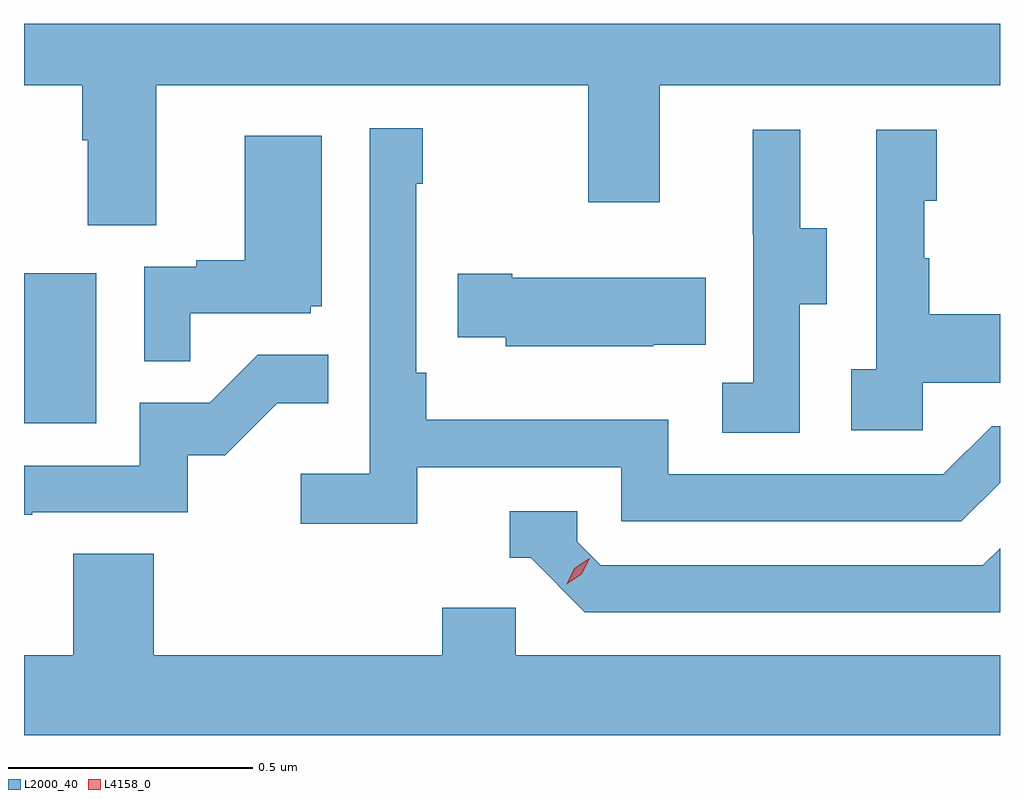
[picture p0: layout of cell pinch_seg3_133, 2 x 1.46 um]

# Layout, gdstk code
import gdstk
lib = gdstk.Library(unit=1e-6, precision=1e-09)
def R(c, l, rs):  # rectangles x0, y0, x1, y1
    for r in rs: c.add(gdstk.rectangle(r[:2], r[2:], *l))
def P(c, l, *ps):  # polygons
    for p in ps: c.add(gdstk.Polygon(p, *l))
L2000_40 = (2000, 40)
L4158_0 = (4158, 0)

pinch_seg3_133 = lib.new_cell('pinch_seg3_133')
R(pinch_seg3_133, L2000_40, [(1129.26,717.54,1129.408,717.847)])
P(pinch_seg3_133, L2000_40, [(1129.531,718.232),(1130.416,718.232),(1130.416,717.993),(1130.563,717.993),(1130.563,718.232),(1131.26,718.232),(1131.26,718.359),(1129.26,718.359),(1129.26,718.232),(1129.379,718.232),(1129.379,718.12),(1129.391,718.12),(1129.391,717.946),(1129.531,717.946)],
  [(1130.066,717.45),(1130.484,717.45),(1130.484,717.339),(1131.181,717.339),(1131.26,717.418),(1131.26,717.534),(1131.243,717.534),(1131.144,717.435),(1130.58,717.435),(1130.58,717.547),(1130.084,717.547),(1130.084,717.643),(1130.064,717.643),(1130.064,718.031),(1130.077,718.031),(1130.077,718.144),(1129.968,718.144),(1129.968,717.436),(1129.827,717.436),(1129.827,717.334),(1130.066,717.334)],
  [(1131.102,717.623),(1131.26,717.623),(1131.26,717.763),(1131.115,717.763),(1131.115,717.878),(1131.105,717.878),(1131.105,717.996),(1131.13,717.996),(1131.13,718.141),(1131.006,718.141),(1131.006,717.65),(1130.955,717.65),(1130.955,717.525),(1131.102,717.525)],
  [(1130.85,717.784),(1130.905,717.784),(1130.905,717.939),(1130.851,717.939),(1130.851,718.141),(1130.753,718.141),(1130.753,717.927),(1130.754,717.927),(1130.754,717.623),(1130.691,717.623),(1130.691,717.52),(1130.85,717.52)],
  [(1129.601,717.765),(1129.848,717.765),(1129.848,717.78),(1129.87,717.78),(1129.87,718.129),(1129.712,718.129),(1129.712,717.874),(1129.613,717.874),(1129.613,717.861),(1129.506,717.861),(1129.506,717.667),(1129.601,717.667)],
  [(1130.549,717.701),(1130.657,717.701),(1130.657,717.838),(1130.26,717.838),(1130.26,717.846),(1130.149,717.846),(1130.149,717.716),(1130.247,717.716),(1130.247,717.698),(1130.549,717.698)],
  [(1129.277,717.357),(1129.596,717.357),(1129.596,717.474),(1129.672,717.474),(1129.779,717.581),(1129.883,717.581),(1129.883,717.68),(1129.739,717.68),(1129.641,717.582),(1129.497,717.582),(1129.497,717.453),(1129.26,717.453),(1129.26,717.352),(1129.277,717.352)],
  [(1131.26,717.284),(1131.225,717.249),(1130.442,717.249),(1130.394,717.297),(1130.394,717.36),(1130.255,717.36),(1130.255,717.264),(1130.298,717.264),(1130.409,717.153),(1131.26,717.153)],
  [(1131.26,717.064),(1130.268,717.064),(1130.268,717.162),(1130.117,717.162),(1130.117,717.064),(1129.526,717.064),(1129.526,717.272),(1129.361,717.272),(1129.361,717.064),(1129.26,717.064),(1129.26,716.9),(1131.26,716.9)])
P(pinch_seg3_133, L4158_0, [(1130.372,717.21),(1130.372,717.21),(1130.388,717.243),(1130.418,717.263),(1130.418,717.263),(1130.418,717.262),(1130.403,717.23),(1130.372,717.21)])

lib.write_gds('pinch_seg3_133.gds')
